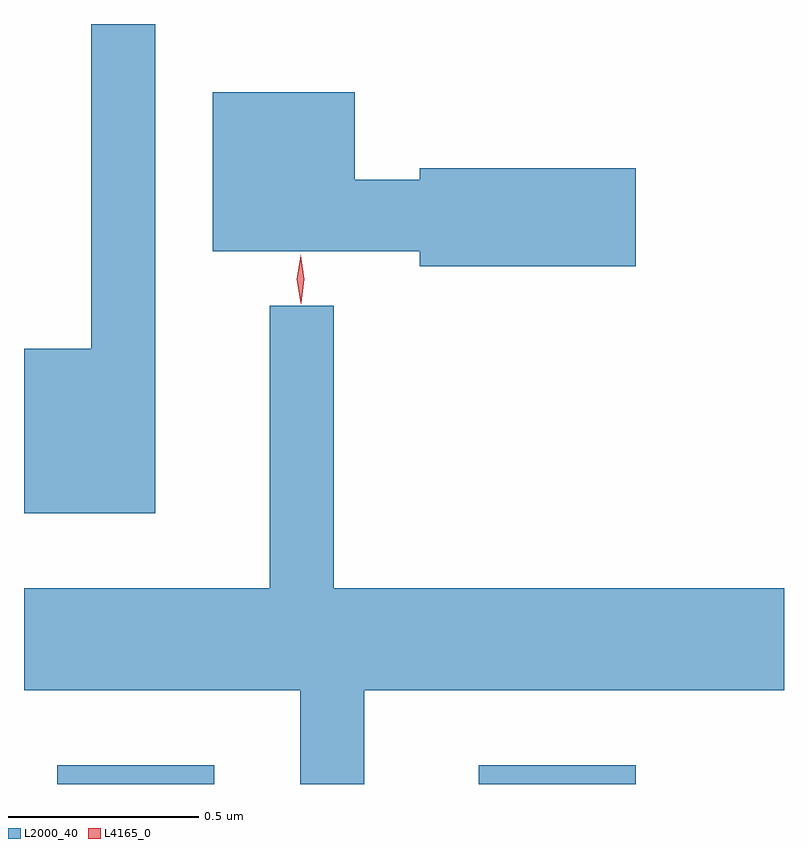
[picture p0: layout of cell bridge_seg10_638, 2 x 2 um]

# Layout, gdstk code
import gdstk
lib = gdstk.Library(unit=1e-6, precision=1e-09)
def R(c, l, rs):  # rectangles x0, y0, x1, y1
    for r in rs: c.add(gdstk.rectangle(r[:2], r[2:], *l))
def P(c, l, *ps):  # polygons
    for p in ps: c.add(gdstk.Polygon(p, *l))
L2000_40 = (2000, 40)
L4165_0 = (4165, 0)

bridge_seg10_638 = lib.new_cell('bridge_seg10_638')
R(bridge_seg10_638, L2000_40, [(745.291,2109.229,745.704,2109.279), (746.401,2109.229,746.814,2109.279)])
P(bridge_seg10_638, L2000_40, [(745.549,2111.229),(745.381,2111.229),(745.381,2110.374),(745.204,2110.374),(745.204,2109.941),(745.549,2109.941)],
  [(746.814,2110.849),(746.246,2110.849),(746.246,2110.819),(746.074,2110.819),(746.074,2111.049),(745.701,2111.049),(745.701,2110.631),(746.246,2110.631),(746.246,2110.591),(746.814,2110.591)],
  [(746.099,2109.476),(747.204,2109.476),(747.204,2109.744),(746.019,2109.744),(746.019,2110.488),(745.851,2110.488),(745.851,2109.744),(745.204,2109.744),(745.204,2109.476),(745.931,2109.476),(745.931,2109.229),(746.099,2109.229)])
P(bridge_seg10_638, L4165_0, [(745.933,2110.493),(745.932,2110.494),(745.922,2110.557),(745.932,2110.621),(745.932,2110.622),(745.932,2110.621),(745.942,2110.557),(745.933,2110.494)])

lib.write_gds('bridge_seg10_638.gds')
